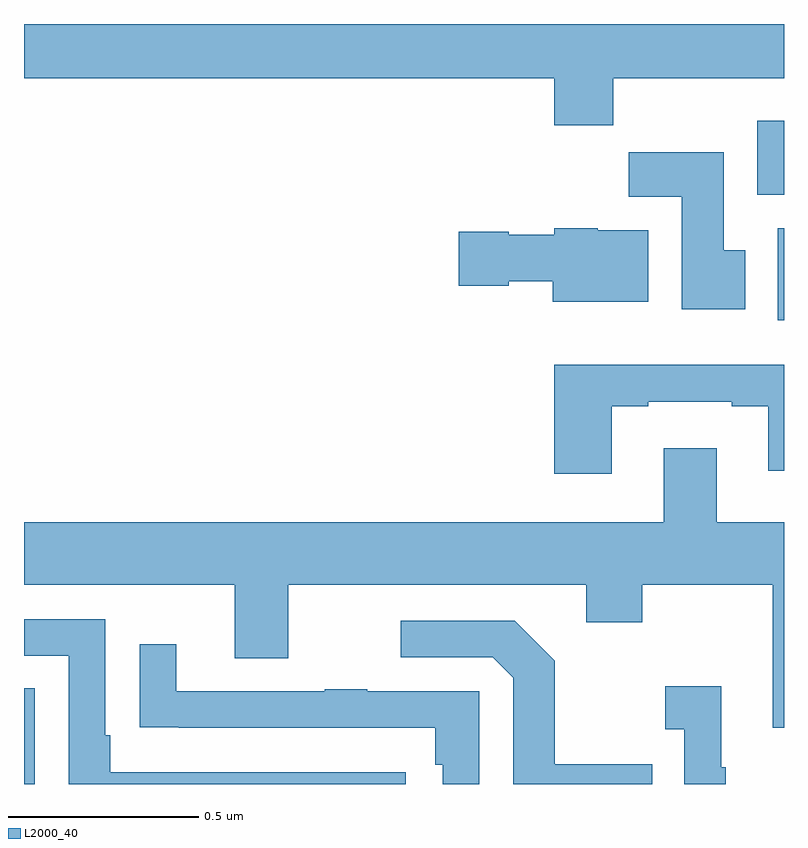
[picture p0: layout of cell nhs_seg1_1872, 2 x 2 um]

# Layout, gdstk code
import gdstk
lib = gdstk.Library(unit=1e-6, precision=1e-09)
def R(c, l, rs):  # rectangles x0, y0, x1, y1
    for r in rs: c.add(gdstk.rectangle(r[:2], r[2:], *l))
def P(c, l, *ps):  # polygons
    for p in ps: c.add(gdstk.Polygon(p, *l))
L2000_40 = (2000, 40)

nhs_seg1_1872 = lib.new_cell('nhs_seg1_1872')
R(nhs_seg1_1872, L2000_40, [(134,559.199,134.028,559.451), (135.983,560.42,136,560.662), (135.929,560.75,136,560.944)])
P(nhs_seg1_1872, L2000_40, [(135.551,561.056),(136,561.056),(136,561.199),(134,561.199),(134,561.056),(135.395,561.056),(135.395,560.932),(135.551,560.932)],
  [(135.898,560.604),(135.841,560.604),(135.841,560.862),(135.592,560.862),(135.592,560.744),(135.731,560.744),(135.731,560.448),(135.898,560.448)],
  [(135.643,560.656),(135.51,560.656),(135.51,560.662),(135.396,560.662),(135.396,560.644),(135.276,560.644),(135.276,560.652),(135.144,560.652),(135.144,560.51),(135.276,560.51),(135.276,560.522),(135.392,560.522),(135.392,560.468),(135.643,560.468)],
  [(135.547,560.193),(135.643,560.193),(135.643,560.205),(135.863,560.205),(135.863,560.193),(135.959,560.193),(135.959,560.024),(136,560.024),(136,560.302),(135.395,560.302),(135.395,560.016),(135.547,560.016)],
  [(136,559.888),(135.823,559.888),(135.823,560.083),(135.683,560.083),(135.683,559.888),(134,559.888),(134,559.724),(134.555,559.724),(134.555,559.53),(134.695,559.53),(134.695,559.724),(135.479,559.724),(135.479,559.625),(135.627,559.625),(135.627,559.724),(135.971,559.724),(135.971,559.347),(136,559.347)],
  [(135.004,559.23),(134.227,559.23),(134.227,559.327),(134.214,559.327),(134.214,559.632),(134,559.632),(134,559.536),(134.118,559.536),(134.118,559.199),(135.004,559.199)],
  [(135.653,559.251),(135.397,559.251),(135.397,559.523),(135.291,559.629),(134.991,559.629),(134.991,559.533),(135.234,559.533),(135.288,559.479),(135.288,559.199),(135.653,559.199)],
  [(135.198,559.443),(134.903,559.443),(134.903,559.448),(134.791,559.448),(134.791,559.443),(134.401,559.443),(134.401,559.567),(134.305,559.567),(134.305,559.348),(134.407,559.348),(134.407,559.347),(135.082,559.347),(135.082,559.25),(135.102,559.25),(135.102,559.199),(135.198,559.199)],
  [(135.847,559.243),(135.835,559.243),(135.835,559.456),(135.687,559.456),(135.687,559.343),(135.738,559.343),(135.738,559.199),(135.847,559.199)])

lib.write_gds('nhs_seg1_1872.gds')
